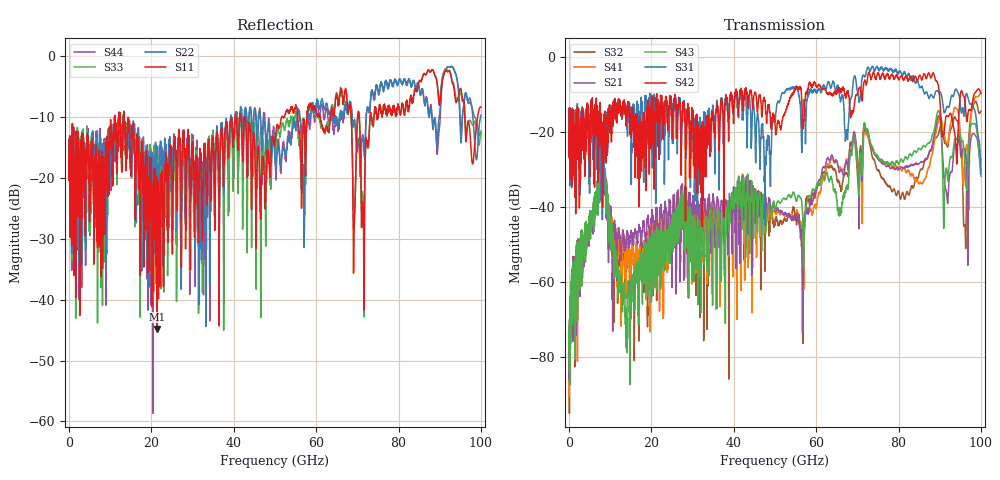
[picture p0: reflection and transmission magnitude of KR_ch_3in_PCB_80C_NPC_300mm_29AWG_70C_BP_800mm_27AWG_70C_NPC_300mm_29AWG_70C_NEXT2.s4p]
# GHz S RI R 45
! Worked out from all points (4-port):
!   4000 points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, 25 MHz to 100 GHz, reference 45 ohm
!   strongest paths, dB at 25 MHz, 25.02 GHz, 50.02 GHz, 75.03 GHz, 100 GHz:
!     S42: -20.0, -17.9, -18.0, -4.4, -9.7
!     S31: -20.0, -13.7, -17.3, -3.0, -31.3
!     S43: -83.4, -44.5, -40.7, -26.6, -31.8
!     S21: -82.5, -46.5, -40.8, -27.3, -27.3
!     S41: -90.4, -50.0, -41.1, -27.0, -9.7
!     S32: -84.5, -44.2, -43.9, -30.2, -14.5
!   lowest |S11| = -44.8 dB at 21.43 GHz (marker M1), VSWR 1.01, Z = 44.5 - j0.0596 ohm
!   |S11| at or under -10 dB: start of sweep to 11.05 GHz; 13.38 GHz to 40.37 GHz (26.99 GHz wide, 100 % of centre); 42.8 GHz to 51.67 GHz (8.863 GHz wide, 18.8 % of centre) (the widest 3 of 23)
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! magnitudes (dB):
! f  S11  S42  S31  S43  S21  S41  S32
! 25 MHz  -16.0  -20.0  -20.0  -83.4  -82.5  -90.4  -84.5
! 8.025 GHz  -17.9  -24.5  -24.7  -24.8  -25.9  -25.3  -25.7
! 13.62 GHz  -13.2  -14.9  -14.0  -68.3  -50.1  -56.0  -56.1
! 21.43 GHz  -44.8  -16.6  -19.9  -45.6  -40.3  -43.2  -47.9
! 71.95 GHz  -15.7  -6.6  -5.1  -18.8  -19.3  -20.1  -18.8
! 96.1 GHz  -9.6  -11.6  -13.3  -28.6  -24.7  -27.3  -44.9
! 100 GHz  -8.3  -9.7  -31.3  -31.8  -27.3  -9.7  -14.5
